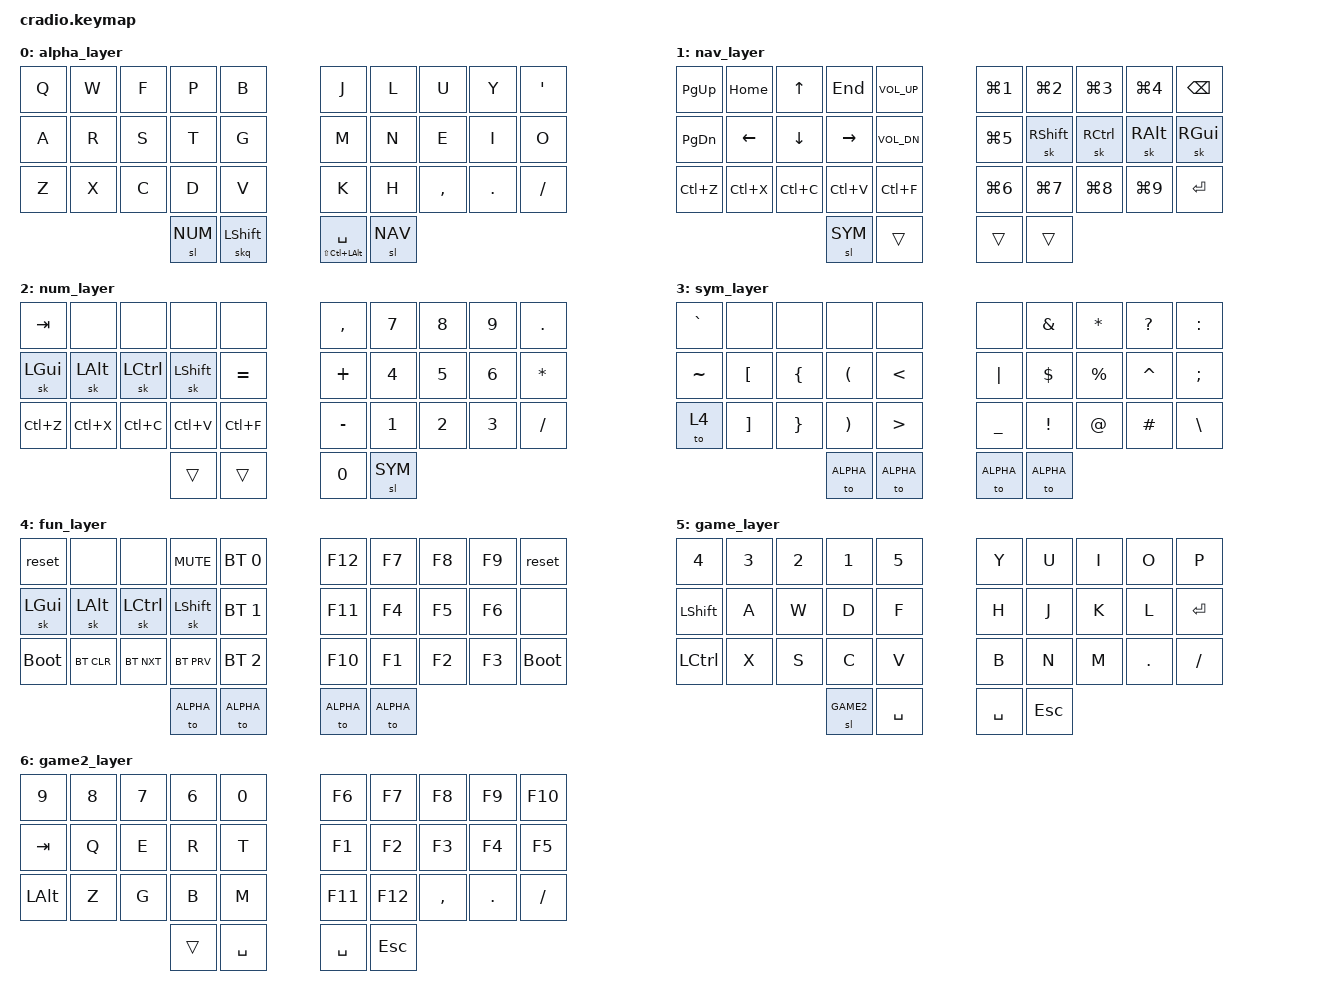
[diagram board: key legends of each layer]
/*
 * Copyright (c) 2020 The ZMK Contributors
 *
 * SPDX-License-Identifier: MIT
 */

#include <behaviors.dtsi>
#include <dt-bindings/zmk/keys.h>
#include <dt-bindings/zmk/bt.h>


/* key assignments
  0  1  2  3  4       5  6  7  8  9
  10 11 12 13 14      15 16 17 18 19
  20 21 22 23 24      25 26 27 28 29
            30 31     32 33
*/

#define ALPHA 0
#define NAV 1
#define NUM 2
#define SYM 3
#define FUN 4
#define GAME 5
#define GAME2 6

&mt {
    flavor = "tap-preferred";
    tapping_term_ms = <200>;
};

&sk {
    ignore-modifiers; //allows for calum-style modifers 
};

  
/ { 
  combos {
        #include "combos.dtsi"    //this directs to a list of combos
    };
   
        //this gives quick relese to any sticky key if it's labled &skq 
   behaviors {
      skq: sticky_key_quick_release {
        compatible = "zmk,behavior-sticky-key";
        label = "STICKY_KEY_QUICK_RELEASE";
        #binding-cells = <1>;
        bindings = <&kp>;
        release-after-ms = <1000>;
        quick-release;
        };
    };
};    



/{
        keymap {
                compatible = "zmk,keymap";
                
       		alpha_layer {
		bindings = <
		&kp Q &kp W &kp F &kp P &kp B 						&kp J &kp L &kp U &kp Y &kp APOS 
		&kp A &kp R &kp S &kp T &kp G 			        	&kp M &kp N &kp E &kp I &kp O
		&kp Z &kp X &kp C &kp D &kp V				        &kp K &kp H &kp COMMA &kp DOT &kp SLASH
          				&sl NUM &skq LSHFT                   &mt LS(LC(LALT)) SPC &sl NAV
		>;
		};

       		nav_layer {
		bindings = <
        &kp PG_UP   &kp HOME  &kp UP    &kp END    &kp C_VOL_UP       &kp LG(N1) &kp LG(N2) &kp LG(N3) &kp LG(N4) &kp BSPC 
        &kp PG_DN   &kp LEFT  &kp DOWN  &kp RIGHT  &kp C_VOL_DN       &kp LG(N5) &sk RSHFT  &sk RCTRL  &sk RALT   &sk RGUI   
        &kp LC(Z)   &kp LC(X) &kp LC(C) &kp LC(V)  &kp LC(F)          &kp LG(N6) &kp LG(N7) &kp LG(N8)  &kp LG(N9) &kp RET
                                        &sl SYM  &trans               &trans &trans
        >;
		};
		
		    num_layer {
		bindings = <
		&kp TAB   &none     &none      &none      &none    		    &kp COMMA  &kp N7 &kp N8 &kp N9 &kp DOT 
		&sk LGUI  &sk LALT  &sk LCTRL  &sk LSHFT  &kp EQUAL 		&kp PLUS   &kp N4 &kp N5 &kp N6 &kp ASTRK
		&kp LC(Z) &kp LC(X) &kp LC(C)  &kp LC(V)  &kp LC(F)   		&kp MINUS  &kp N1 &kp N2 &kp N3 &kp SLASH
					                        &trans &trans           &kp N0  &sl SYM
		>;
		};	
		
		    sym_layer {
		bindings = <
		&kp GRAVE &none    &none     &none     &none    		&none      &kp AMPS &kp ASTRK &kp QMARK &kp COLON 
		&kp TILDE &kp LBKT &kp LBRC  &kp LPAR  &kp LT 	        &kp PIPE   &kp DLLR &kp PRCNT &kp CARET &kp SEMI
		&to 4     &kp RBKT &kp RBRC  &kp RPAR  &kp GT   		&kp UNDER  &kp EXCL &kp AT    &kp HASH  &kp BSLH
					                &to ALPHA  &to ALPHA       &to ALPHA &to ALPHA 
		>;
		};	

            fun_layer {
		bindings = <
		&reset      &none        &none        &kp C_MUTE &bt BT_SEL 0 		&kp F12 &kp F7  &kp F8 &kp F9  &reset
		&sk LGUI    &sk LALT     &sk LCTRL    &sk LSHFT  &bt BT_SEL 1       &kp F11 &kp F4  &kp F5 &kp F6 &none 
		&bootloader &bt BT_CLR   &bt BT_NXT   &bt BT_PRV &bt BT_SEL 2  		&kp F10 &kp F1  &kp F2 &kp F3 &bootloader  
					                    &to ALPHA &to ALPHA             &to ALPHA &to ALPHA
		>;
		};
        
            game_layer {
		bindings = <
		&kp N4    &kp N3 &kp N2 &kp N1 &kp N5 					    &kp Y &kp U &kp I &kp O &kp P 
		&kp LSHFT &kp A  &kp W  &kp D  &kp F 			        	&kp H &kp J &kp K &kp L &kp RET
		&kp LCTRL &kp X  &kp S  &kp C  &kp V				        &kp B &kp N &kp M &kp DOT &kp SLASH
          				&sl GAME2 &kp SPACE                   &kp SPC &kp ESC
		>;
		};

            game2_layer {
		bindings = <
		&kp N9    &kp N8 &kp N7 &kp N6 &kp N0						&kp F6 &kp F7 &kp F8 &kp F9 &kp F10 
		&kp TAB   &kp Q  &kp E  &kp R  &kp T			        	&kp F1 &kp F2 &kp F3 &kp F4 &kp F5
		&kp LALT  &kp Z  &kp G  &kp B  &kp M 				        &kp F11 &kp F12 &kp COMMA &kp DOT &kp SLASH
          				&trans &kp SPACE                        &kp SPC &kp ESC
		>;
		};	
	};
};
